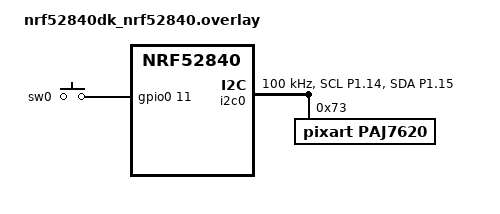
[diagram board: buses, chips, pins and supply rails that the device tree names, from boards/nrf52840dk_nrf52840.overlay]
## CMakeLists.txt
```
# Copyright (c) 2025 Paul Timke <ptimkec@live.com>
# SPDX-License-Identifier: Apache-2.0

cmake_minimum_required(VERSION 3.28.0)
find_package(Zephyr REQUIRED HINTS $ENV{ZEPHYR_BASE})
project(paj7620_gesture)

FILE(GLOB app_sources src/*.c)
target_sources(app PRIVATE ${app_sources})
```

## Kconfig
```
# Copyright (c) 2025 Paul Timke <ptimkec@live.com>
# SPDX-License-Identifier: Apache-2.0

mainmenu "PAJ7620 sample application"

config APP_USE_POLLING
	bool "Select y to use polling, otherwise the sample will use triggers"
	default y

source "Kconfig.zephyr"
```

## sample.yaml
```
sample:
  name: PAJ7620 gesture trigger sample
common:
  min_ram: 12
  tags: sensors
  platform_allow:
    - nucleo_f334r8
    - nrf52840dk/nrf52840
  filter: dt_compat_enabled("pixart,paj7620")
tests:
  sample.sensor.paj7620_gesture_trig:
    build_only: true
    depends_on:
      - i2c
      - gpio
    extra_args: EXTRA_CONF_FILE=trigger.conf
  sample.sensor.paj7620_gesture_polling:
    build_only: true
    depends_on:
      - i2c
    extra_configs:
      - CONFIG_PAJ7620_TRIGGER_NONE=y
  sample.sensor.paj7620_gesture_power_modes:
    build_only: true
    depends_on:
      - i2c
      - gpio
    extra_args: EXTRA_CONF_FILE=powermodes.conf
```

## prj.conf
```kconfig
CONFIG_STDOUT_CONSOLE=y
CONFIG_I2C=y
CONFIG_SENSOR=y
CONFIG_PAJ7620_POWER_MODES=n
```

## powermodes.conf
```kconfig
CONFIG_GPIO=y
CONFIG_PM_DEVICE=y
```

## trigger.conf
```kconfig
CONFIG_GPIO=y
CONFIG_PAJ7620_TRIGGER_OWN_THREAD=y
```

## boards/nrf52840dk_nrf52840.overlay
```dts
/*
 * Copyright (c) 2025 Paul Timke <ptimkec@live.com>
 * Copyright (c) 2025 Mohamed Haggouna <mohamed.haggouna@gmail.com>
 *
 * SPDX-License-Identifier: Apache-2.0
 */
&i2c0 {
	compatible = "nordic,nrf-twi";
	status = "okay";
	pinctrl-0 = <&i2c0_default>;
	pinctrl-1 = <&i2c0_sleep>;
	pinctrl-names = "default", "sleep";

	paj7620: paj7620@73 {
		compatible = "pixart,paj7620";
		reg = <0x73>;
	};

	clock-frequency = <I2C_BITRATE_STANDARD>;
};

&pinctrl {
	/omit-if-no-ref/ i2c0_default: i2c0_default {
		group1 {
			psels = <NRF_PSEL(TWIM_SCL, 1, 14)>,
				<NRF_PSEL(TWIM_SDA, 1, 15)>;
		};
	};

	/omit-if-no-ref/ i2c0_sleep: i2c0_sleep {
		group1 {
			psels = <NRF_PSEL(TWIM_SCL, 1, 14)>,
				<NRF_PSEL(TWIM_SDA, 1, 15)>;
			low-power-enable;
		};
	};
};

&button0 {
	gpios = <&gpio0 11 (GPIO_PULL_UP | GPIO_ACTIVE_HIGH)>;
	label = "sw0";
};
```

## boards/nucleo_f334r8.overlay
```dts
/*
 * SPDX-FileCopyrightText: Copyright The Zephyr Project Contributors
 * SPDX-License-Identifier: Apache-2.0
 */

&gpioa {
	status = "okay";
};

&i2c1 {
	status = "okay";

	paj7620: paj7620@73 {
		compatible = "pixart,paj7620";
		reg = <0x73>;
		int-gpios = <&gpioa 9 GPIO_PULL_UP>;
	};
};
```

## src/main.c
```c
/*
 * Copyright (c) 2025 Paul Timke <ptimkec@live.com>
 *
 * SPDX-License-Identifier: Apache-2.0
 */

#include <zephyr/kernel.h>
#include <zephyr/drivers/sensor.h>
#include <zephyr/drivers/sensor/paj7620.h>

#define GESTURE_POLL_TIME_MS 100

#ifdef CONFIG_PAJ7620_TRIGGER
K_SEM_DEFINE(sem, 0, 1); /* starts off "not available" */

static void trigger_handler(const struct device *dev, const struct sensor_trigger *trigger)
{
	ARG_UNUSED(trigger);

	if (sensor_sample_fetch(dev) < 0) {
		printf("sensor_sample_fetch failed\n");
		return;
	}

	k_sem_give(&sem);
}
#endif

static void print_hand_gesture(uint16_t gest_flags)
{
	if ((gest_flags & PAJ7620_FLAG_GES_UP) != 0) {
		printf("Gesture UP\n");
	}
	if ((gest_flags & PAJ7620_FLAG_GES_DOWN) != 0) {
		printf("Gesture DOWN\n");
	}
	if ((gest_flags & PAJ7620_FLAG_GES_LEFT) != 0) {
		printf("Gesture LEFT\n");
	}
	if ((gest_flags & PAJ7620_FLAG_GES_RIGHT) != 0) {
		printf("Gesture RIGHT\n");
	}
	if ((gest_flags & PAJ7620_FLAG_GES_FORWARD) != 0) {
		printf("Gesture FORWARD\n");
	}
	if ((gest_flags & PAJ7620_FLAG_GES_BACKWARD) != 0) {
		printf("Gesture BACKWARD\n");
	}
	if ((gest_flags & PAJ7620_FLAG_GES_CLOCKWISE) != 0) {
		printf("Gesture CLOCKWISE\n");
	}
	if ((gest_flags & PAJ7620_FLAG_GES_COUNTERCLOCKWISE) != 0) {
		printf("Gesture COUNTER CLOCKWISE\n");
	}
}

#ifdef CONFIG_PAJ7620_TRIGGER_OWN_THREAD
static void trigger_main_loop(const struct device *dev)
{
	struct sensor_value data;

	while (1) {
		k_sem_take(&sem, K_FOREVER);

		(void)sensor_channel_get(dev, (enum sensor_channel)SENSOR_CHAN_PAJ7620_GESTURES,
					 &data);

		print_hand_gesture(data.val1);
	}
}
#endif

#ifdef CONFIG_PAJ7620_TRIGGER_NONE
static void polling_main_loop(const struct device *dev)
{
	struct sensor_value data;

	while (1) {
		(void)sensor_sample_fetch(dev);
		(void)sensor_channel_get(dev, (enum sensor_channel)SENSOR_CHAN_PAJ7620_GESTURES,
					 &data);

		print_hand_gesture(data.val1);
		k_msleep(GESTURE_POLL_TIME_MS);
	}
}
#endif

int main(void)
{
	const struct device *dev = DEVICE_DT_GET_ONE(pixart_paj7620);

	if (!device_is_ready(dev)) {
		printf("Device %s is not ready\n", dev->name);
		return -ENODEV;
	}

#ifdef CONFIG_PAJ7620_TRIGGER
	struct sensor_trigger trig = {
		.type = SENSOR_TRIG_MOTION,
		.chan = (enum sensor_channel)SENSOR_CHAN_PAJ7620_GESTURES,
	};
	int ret;

	printf("PAJ7620 gesture sensor sample - trigger mode\n");

	ret = sensor_trigger_set(dev, &trig, trigger_handler);
	if (ret < 0) {
		printf("Could not set trigger\n");
		return ret;
	}

	trigger_main_loop(dev);
#else
	printf("PAJ7620 gesture sensor sample - polling mode\n");
	polling_main_loop(dev);
#endif
}
```
